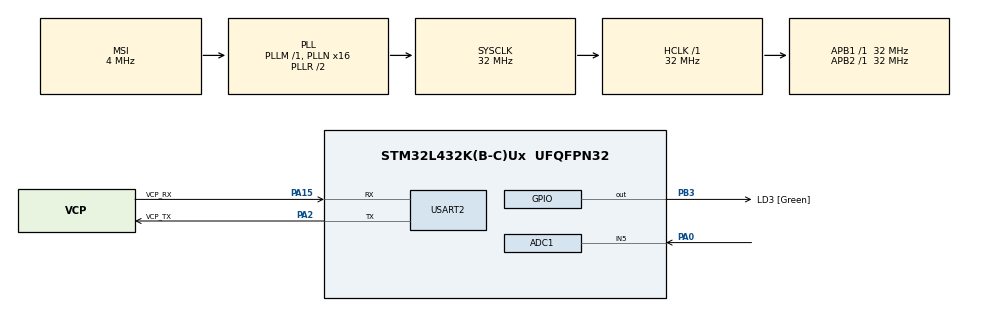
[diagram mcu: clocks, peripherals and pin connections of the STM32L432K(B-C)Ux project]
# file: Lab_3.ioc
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Mcu.Family=STM32L4
RCC.MSI_VALUE=4000000
PA14\ (JTCK-SWCLK).Mode=Serial_Wire
RCC.CortexFreq_Value=32000000
ADC1.Rank-0\#ChannelRegularConversion=1
ADC1.OffsetNumber-0\#ChannelRegularConversion=ADC_OFFSET_NONE
PC15-OSC32_OUT\ (PC15).Signal=RCC_OSC32_OUT
PA15\ (JTDI).Signal=USART2_RX
PB3\ (JTDO-TRACESWO).GPIO_Label=LD3 [Green]
PA14\ (JTCK-SWCLK).GPIO_Label=SWCLK
PC15-OSC32_OUT\ (PC15).Mode=LSE-External-Oscillator
RCC.SYSCLKSource=RCC_SYSCLKSOURCE_PLLCLK
ProjectManager.StackSize=0x400
PB3\ (JTDO-TRACESWO).Signal=GPIO_Output
PC14-OSC32_IN\ (PC14).Mode=LSE-External-Oscillator
PA14\ (JTCK-SWCLK).Signal=SYS_JTCK-SWCLK
RCC.HSI16_VALUE=16000000
PA15\ (JTDI).Mode=Asynchronous
ProjectManager.TargetToolchain=STM32CubeIDE
RCC.HCLKFreq_Value=32000000
RCC.APB2TimFreq_Value=32000000
RCC.USBFreq_Value=32000000
RCC.AHBFreq_Value=32000000
ADC1.Channel-0\#ChannelRegularConversion=ADC_CHANNEL_5
RCC.HSE_VALUE=8000000
board=NUCLEO-L432KC
USART2.VirtualMode-Asynchronous=VM_ASYNC
RCC.VCOOutputFreq_Value=64000000
RCC.PLLMUL=RCC_PLLMUL_4
RCC.APB2Freq_Value=32000000
PA13\ (JTMS-SWDIO).GPIO_Label=SWDIO
RCC.ADCFreq_Value=32000000
PA15\ (JTDI).GPIO_Label=VCP_RX
Mcu.Name=STM32L432K(B-C)Ux
ADC1.SamplingTime-0\#ChannelRegularConversion=ADC_SAMPLETIME_2CYCLES_5
PA2.Signal=USART2_TX
PA0.Signal=ADCx_IN5
PA13\ (JTMS-SWDIO).Mode=Serial_Wire
RCC.SYSCLKFreq_VALUE=32000000
Mcu.Package=UFQFPN32
ADC1.master=1
PC14-OSC32_IN\ (PC14).Signal=RCC_OSC32_IN
PA2.GPIO_Label=VCP_TX
ProjectManager.HeapSize=0x200
RCC.HSI_VALUE=16000000
SH.ADCx_IN5.0=ADC1_IN5,IN5-Single-Ended
NVIC.PriorityGroup=NVIC_PRIORITYGROUP_4
ADC1.NbrOfConversionFlag=1
RCC.PLLN=16
RCC.APB1TimFreq_Value=32000000
PA2.Mode=Asynchronous
PA13\ (JTMS-SWDIO).Signal=SYS_JTMS-SWDIO
RCC.APB1Freq_Value=32000000
RCC.HSI48_VALUE=48000000
RCC.PLLSAI1N=16

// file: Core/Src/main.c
/* USER CODE BEGIN Header */
/**
  ******************************************************************************
  * @file           : main.c
  * @brief          : Main program body
  ******************************************************************************
  * @attention
  *
  * <h2><center>&copy; Copyright (c) 2021 STMicroelectronics.
  * All rights reserved.</center></h2>
  *
  * This software component is licensed by ST under BSD 3-Clause license,
  * the "License"; You may not use this file except in compliance with the
  * License. You may obtain a copy of the License at:
  *                        opensource.org/licenses/BSD-3-Clause
  *
  ******************************************************************************
  */
/* USER CODE END Header */
#include "main.h"

ADC_HandleTypeDef hadc1;

UART_HandleTypeDef huart2;

void SystemClock_Config(void);
static void MX_GPIO_Init(void);
static void MX_USART2_UART_Init(void);
static void MX_ADC1_Init(void);

int main(void)
{

  /* MCU Configuration--------------------------------------------------------*/

  /* Reset of all peripherals, Initializes the Flash interface and the Systick. */
  HAL_Init();

  /* Configure the system clock */
  SystemClock_Config();

  /* Initialize all configured peripherals */
  MX_GPIO_Init();
  MX_USART2_UART_Init();
  MX_ADC1_Init();
  /* USER CODE BEGIN 2 */
  double voltageADC = 0;
  uint32_t myADCval = 0 ;
  HAL_StatusTypeDef rc ;
  printf("ADC Started: \r \n");
  /* USER CODE END 2 */

  /* Infinite loop */
  /* USER CODE BEGIN WHILE */
  while (1)
  {
	  rc = HAL_ADC_Start(&hadc1);

	  	  if (rc!= HAL_OK){
	  		  printf("ADC failed to initiate.\n");
	  		  return 0;
	  	  }

	  	  rc = HAL_ADC_PollForConversion(&hadc1, 1500);

	  	  if (rc != HAL_OK){
	  		  printf("PollForConversion Failed \n");
	  	  }

	  	  else{
	  		  myADCval = HAL_ADC_GetValue(&hadc1);
	  		  printf("ADC Value = %lu \r \n ",myADCval);
	  		  voltageADC = (double) myADCval * 3.3 /4096.0;
	  		  printf("ADC Voltage = %f \t", voltageADC);
	  	  }

	  	  HAL_Delay(5000);

    /* USER CODE END WHILE */

  }
}

void SystemClock_Config(void)
{
  RCC_OscInitTypeDef RCC_OscInitStruct = {0};
  RCC_ClkInitTypeDef RCC_ClkInitStruct = {0};
  RCC_PeriphCLKInitTypeDef PeriphClkInit = {0};

  /** Configure LSE Drive Capability
  */
  HAL_PWR_EnableBkUpAccess();
  __HAL_RCC_LSEDRIVE_CONFIG(RCC_LSEDRIVE_LOW);
  /** Initializes the RCC Oscillators according to the specified parameters
  * in the RCC_OscInitTypeDef structure.
  */
  RCC_OscInitStruct.OscillatorType = RCC_OSCILLATORTYPE_LSE|RCC_OSCILLATORTYPE_MSI;
  RCC_OscInitStruct.LSEState = RCC_LSE_ON;
  RCC_OscInitStruct.MSIState = RCC_MSI_ON;
  RCC_OscInitStruct.MSICalibrationValue = 0;
  RCC_OscInitStruct.MSIClockRange = RCC_MSIRANGE_6;
  RCC_OscInitStruct.PLL.PLLState = RCC_PLL_ON;
  RCC_OscInitStruct.PLL.PLLSource = RCC_PLLSOURCE_MSI;
  RCC_OscInitStruct.PLL.PLLM = 1;
  RCC_OscInitStruct.PLL.PLLN = 16;
  RCC_OscInitStruct.PLL.PLLP = RCC_PLLP_DIV7;
  RCC_OscInitStruct.PLL.PLLQ = RCC_PLLQ_DIV2;
  RCC_OscInitStruct.PLL.PLLR = RCC_PLLR_DIV2;
  if (HAL_RCC_OscConfig(&RCC_OscInitStruct) != HAL_OK)
  {
    Error_Handler();
  }
  /** Initializes the CPU, AHB and APB buses clocks
  */
  RCC_ClkInitStruct.ClockType = RCC_CLOCKTYPE_HCLK|RCC_CLOCKTYPE_SYSCLK
                              |RCC_CLOCKTYPE_PCLK1|RCC_CLOCKTYPE_PCLK2;
  RCC_ClkInitStruct.SYSCLKSource = RCC_SYSCLKSOURCE_PLLCLK;
  RCC_ClkInitStruct.AHBCLKDivider = RCC_SYSCLK_DIV1;
  RCC_ClkInitStruct.APB1CLKDivider = RCC_HCLK_DIV1;
  RCC_ClkInitStruct.APB2CLKDivider = RCC_HCLK_DIV1;

  if (HAL_RCC_ClockConfig(&RCC_ClkInitStruct, FLASH_LATENCY_1) != HAL_OK)
  {
    Error_Handler();
  }
  PeriphClkInit.PeriphClockSelection = RCC_PERIPHCLK_USART2|RCC_PERIPHCLK_ADC;
  PeriphClkInit.Usart2ClockSelection = RCC_USART2CLKSOURCE_PCLK1;
  PeriphClkInit.AdcClockSelection = RCC_ADCCLKSOURCE_PLLSAI1;
  PeriphClkInit.PLLSAI1.PLLSAI1Source = RCC_PLLSOURCE_MSI;
  PeriphClkInit.PLLSAI1.PLLSAI1M = 1;
  PeriphClkInit.PLLSAI1.PLLSAI1N = 16;
  PeriphClkInit.PLLSAI1.PLLSAI1P = RCC_PLLP_DIV7;
  PeriphClkInit.PLLSAI1.PLLSAI1Q = RCC_PLLQ_DIV2;
  PeriphClkInit.PLLSAI1.PLLSAI1R = RCC_PLLR_DIV2;
  PeriphClkInit.PLLSAI1.PLLSAI1ClockOut = RCC_PLLSAI1_ADC1CLK;
  if (HAL_RCCEx_PeriphCLKConfig(&PeriphClkInit) != HAL_OK)
  {
    Error_Handler();
  }
  /** Configure the main internal regulator output voltage
  */
  if (HAL_PWREx_ControlVoltageScaling(PWR_REGULATOR_VOLTAGE_SCALE1) != HAL_OK)
  {
    Error_Handler();
  }
  /** Enable MSI Auto calibration
  */
  HAL_RCCEx_EnableMSIPLLMode();
}

static void MX_ADC1_Init(void)
{

  ADC_ChannelConfTypeDef sConfig = {0};

  /** Common config
  */
  hadc1.Instance = ADC1;
  hadc1.Init.ClockPrescaler = ADC_CLOCK_ASYNC_DIV1;
  hadc1.Init.Resolution = ADC_RESOLUTION_12B;
  hadc1.Init.DataAlign = ADC_DATAALIGN_RIGHT;
  hadc1.Init.ScanConvMode = ADC_SCAN_DISABLE;
  hadc1.Init.EOCSelection = ADC_EOC_SINGLE_CONV;
  hadc1.Init.LowPowerAutoWait = DISABLE;
  hadc1.Init.ContinuousConvMode = DISABLE;
  hadc1.Init.NbrOfConversion = 1;
  hadc1.Init.DiscontinuousConvMode = DISABLE;
  hadc1.Init.ExternalTrigConv = ADC_SOFTWARE_START;
  hadc1.Init.ExternalTrigConvEdge = ADC_EXTERNALTRIGCONVEDGE_NONE;
  hadc1.Init.DMAContinuousRequests = DISABLE;
  hadc1.Init.Overrun = ADC_OVR_DATA_PRESERVED;
  hadc1.Init.OversamplingMode = DISABLE;
  if (HAL_ADC_Init(&hadc1) != HAL_OK)
  {
    Error_Handler();
  }
  /** Configure Regular Channel
  */
  sConfig.Channel = ADC_CHANNEL_5;
  sConfig.Rank = ADC_REGULAR_RANK_1;
  sConfig.SamplingTime = ADC_SAMPLETIME_2CYCLES_5;
  sConfig.SingleDiff = ADC_SINGLE_ENDED;
  sConfig.OffsetNumber = ADC_OFFSET_NONE;
  sConfig.Offset = 0;
  if (HAL_ADC_ConfigChannel(&hadc1, &sConfig) != HAL_OK)
  {
    Error_Handler();
  }

}

static void MX_USART2_UART_Init(void)
{

  huart2.Instance = USART2;
  huart2.Init.BaudRate = 115200;
  huart2.Init.WordLength = UART_WORDLENGTH_8B;
  huart2.Init.StopBits = UART_STOPBITS_1;
  huart2.Init.Parity = UART_PARITY_NONE;
  huart2.Init.Mode = UART_MODE_TX_RX;
  huart2.Init.HwFlowCtl = UART_HWCONTROL_NONE;
  huart2.Init.OverSampling = UART_OVERSAMPLING_16;
  huart2.Init.OneBitSampling = UART_ONE_BIT_SAMPLE_DISABLE;
  huart2.AdvancedInit.AdvFeatureInit = UART_ADVFEATURE_NO_INIT;
  if (HAL_UART_Init(&huart2) != HAL_OK)
  {
    Error_Handler();
  }

}

static void MX_GPIO_Init(void)
{
  GPIO_InitTypeDef GPIO_InitStruct = {0};

  /* GPIO Ports Clock Enable */
  __HAL_RCC_GPIOC_CLK_ENABLE();
  __HAL_RCC_GPIOA_CLK_ENABLE();
  __HAL_RCC_GPIOB_CLK_ENABLE();

  /*Configure GPIO pin Output Level */
  HAL_GPIO_WritePin(LD3_GPIO_Port, LD3_Pin, GPIO_PIN_RESET);

  /*Configure GPIO pin : LD3_Pin */
  GPIO_InitStruct.Pin = LD3_Pin;
  GPIO_InitStruct.Mode = GPIO_MODE_OUTPUT_PP;
  GPIO_InitStruct.Pull = GPIO_NOPULL;
  GPIO_InitStruct.Speed = GPIO_SPEED_FREQ_LOW;
  HAL_GPIO_Init(LD3_GPIO_Port, &GPIO_InitStruct);

}

void Error_Handler(void)
{
  __disable_irq();
  while (1)
  {
  }
}

/************************ (C) COPYRIGHT STMicroelectronics *****END OF FILE****/
